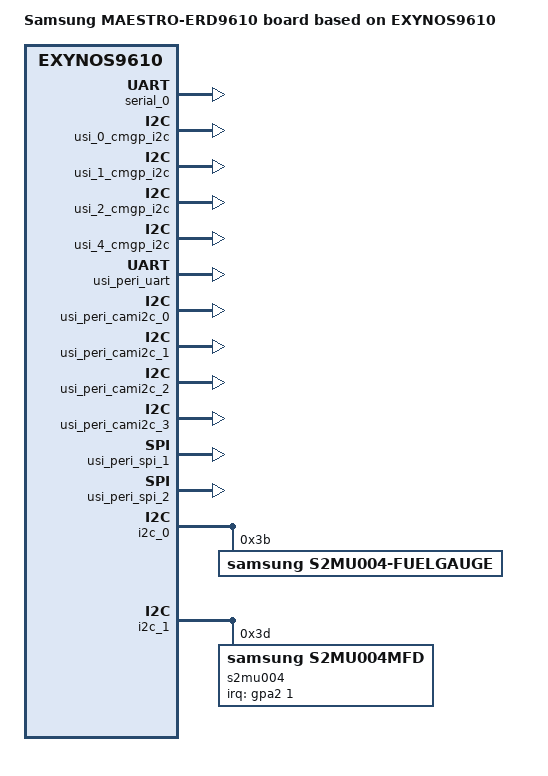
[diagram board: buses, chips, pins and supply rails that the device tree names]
/*
 * SAMSUNG EXYNOS9610 board device tree source
 *
 * Copyright (c) 2017 Samsung Electronics Co., Ltd.
 *		http://www.samsung.com
 *
 * This program is free software; you can redistribute it and/or modify
 * it under the terms of the GNU General Public License version 2 as
 * published by the Free Software Foundation.
 */

/dts-v1/;
#include "exynos9610.dtsi"
#include "exynos9610_battery_data.dtsi"

/ {
	model = "Samsung MAESTRO-ERD9610 board based on EXYNOS9610";
	compatible = "samsung,exynos9610", "samsung,ERD9610";

	memory@80000000 {
		device_type = "memory";
		reg = <0x0 0x80000000 0x80000000>;
	};

	memory@880000000 {
		device_type = "memory";
		reg = <0x00000008 0x80000000 0x80000000>;
	};

	ect {
		parameter_address = <0x90000000>;
		parameter_size = <0x19000>;
	};

	chosen {
		bootargs = "earlycon=exynos4210,0x13820000 console=ttySAC0,115200n8 root=/dev/ram0 rw ramdisk=8192 initrd=0x84000000,8M init=/linuxrc clk_ignore_unused ess_setup=0x86000000";
		linux,initrd-start = <0x84000000>;
		linux,initrd-end = <0x841FFFFF>;
	};

	fixed-rate-clocks {
		oscclk {
			compatible = "samsung,exynos9610-oscclk";
			clock-frequency = <26000000>;
		};
	};

	firmware {
		android {
			compatible = "android,firmware";
			fstab {
				compatible = "android,fstab";
				system {
					compatible = "android,system";
					dev = "/dev/block/platform/13520000.ufs/by-name/system";
					type = "ext4";
					mnt_flags = "ro";
					fsmgr_flags = "wait";
				};
				vendor {
					compatible = "android,vendor";
					dev = "/dev/block/platform/13520000.ufs/by-name/vendor";
					type = "ext4";
					mnt_flags = "ro";
					fsmgr_flags = "wait";
				};
			};
		};
	};

	serial_0: uart@13820000 {
		status = "okay";
	};

	/* USI_0_SHUB */
	usi_0_shub: usi@11013000 {
		usi_v2_mode = "spi";
		status = "okay";
	};

	/* USI_SHUB_0_I2C */
	usi_0_shub_i2c: usi@11013004 {
		/*	usi_v2_mode = "i2c" or "spi" or "uart"	*/
		status = "disabled";
	};

	/* USI_0_CMGP */
	usi_0_cmgp: usi@11C12000 {
		/*	usi_v2_mode = "i2c" or "spi" or "uart"	*/
		status = "disabled";
	};

	/* USI_0_CMGP_I2C */
	usi_0_cmgp_i2c: usi@11C12004 {
		usi_v2_mode = "i2c";
		status = "okay";
	};

	/* USI_1_CMGP */
	usi_1_cmgp: usi@11C12010 {
		usi_v2_mode = "i2c";
		status = "okay";
	};

	/* USI_1_CMGP_I2C */
	usi_1_cmgp_i2c: usi@11C12014 {
		usi_v2_mode = "i2c";
		status = "okay";
	};

	/* USI_2_CMGP */
	usi_2_cmgp: usi@11C12020 {
		/*	usi_v2_mode = "i2c" or "spi" or "uart"	*/
		status = "disabled";
	};

	/* USI_2_CMGP_I2C */
	usi_2_cmgp_i2c: usi@11C12024 {
		usi_v2_mode = "i2c";
		status = "okay";
	};

	/* USI_3_CMGP */
	usi_3_cmgp: usi@11C12030 {
		usi_v2_mode = "spi";
		status = "okay";
	};

	/* USI_3_CMGP_I2C */
	usi_3_cmgp_i2c: usi@11C12034 {
		/*	usi_v2_mode = "i2c" or "spi" or "uart"	*/
		status = "disabled";
	};

	/* USI_4_CMGP */
	usi_4_cmgp: usi@11C12040 {
		usi_v2_mode = "i2c";
		status = "okay";
	};

	/* USI_4_CMGP_I2C */
	usi_4_cmgp_i2c: usi@11C12044 {
		usi_v2_mode = "i2c";
		status = "okay";
	};

	/* USI_PERI_UART */
	usi_peri_uart: usi@10011010 {
		usi_v2_mode = "uart";
		status = "okay";
	};

	/* USI_PERI_CAMI2C_0 */
	usi_peri_cami2c_0: usi@10011020 {
		usi_v2_mode = "i2c";
		status = "okay";
	};

	/* USI_PERI_CAMI2C_1 */
	usi_peri_cami2c_1: usi@10011024 {
		usi_v2_mode = "i2c";
		status = "okay";
	};

	/* USI_PERI_CAMI2C_2 */
	usi_peri_cami2c_2: usi@10011028 {
		usi_v2_mode = "i2c";
		status = "okay";
	};

	/* USI_PERI_CAMI2C_3 */
	usi_peri_cami2c_3: usi@1001102C {
		usi_v2_mode = "i2c";
		status = "okay";
	};

	/* USI_PERI_SPI_0 */
	usi_peri_spi_0: usi@10011030 {
		/*	usi_v2_mode = "i2c" or "spi" or "uart"	*/
		status = "disabled";
	};

	/* USI_PERI_SPI_1 */
	usi_peri_spi_1: usi@10011034 {
		usi_v2_mode = "spi";
		status = "okay";
	};

	/* USI_PERI_USI_0 */
	usi_peri_usi_0: usi@1001103C {
		/*	usi_v2_mode = "i2c" or "spi" or "uart"	*/
		status = "disabled";
	};

	/* USI_PERI_USI_0_I2C */
	usi_peri_usi_0_i2c: usi@10011040 {
		/*	usi_v2_mode = "i2c" or "spi" or "uart"	*/
		status = "disabled";
	};

	/* USI_PERI_SPI_2 */
	usi_peri_spi_2: usi@10011038 {
		usi_v2_mode = "spi";
		status = "okay";
	};

	pinctrl@11850000 {
		pmic_irq: pmic-irq {
			samsung,pins = "gpa2-0";
			samsung,pin-pud = <3>;
			samsugn,pin-drv = <3>;
		};
	};

	pinctrl@139B0000 {
		/* Warm reset informatino from AP */
		pm_wrsti: pm-wrsti {
			samsung,pins = "gpg1-2";
			samsung,pin-con-pdn = <3>;
		};
	};

	speedy@11a10000 {
		status = "okay";

		s2mpu09mfd@00 {
			compatible = "samsung,s2mpu09mfd";
			acpm-ipc-channel = <2>;
			i2c-speedy-address;
			s2mpu09,wakeup = "enabled";
			s2mpu09,irq-gpio = <&gpa2 0 0>;
			reg = <0x00>;
			interrupts = <2 0 0>;
			interrupt-parent = <&gpa2>;
			pinctrl-names = "default";
			pinctrl-0 = <&pmic_irq &pm_wrsti>;
			/* RTC: wtsr/smpl */
			wtsr_en = "enabled"; /* enable */
			smpl_en = "enabled"; /* enable */
			wtsr_timer_val = <3>;	/* 1000ms */
			smpl_timer_val = <4>;	/* 500ms */
			check_jigon = <0>; /* do not check jigon */
			/* RTC: If it's first boot, reset rtc to 1/1/2017 12:00:00(Sun) */
			init_time,sec = <0>;
			init_time,min = <0>;
			init_time,hour = <12>;
			init_time,mday = <1>;
			init_time,mon = <0>;
			init_time,year = <117>;
			init_time,wday = <0>;

			regulators {
				b1_reg: BUCK1 {
					regulator-name = "vdd_mif";
					regulator-min-microvolt = <500000>;
					regulator-max-microvolt = <1100000>;
					regulator-always-on;
					regulator-ramp-delay = <12000>;
					regulator-initial-mode = <2>;
				};

				b2_reg: BUCK2 {
					regulator-name = "vdd_cpucl1";
					regulator-min-microvolt = <500000>;
					regulator-max-microvolt = <1300000>;
					regulator-always-on;
					regulator-ramp-delay = <12000>;
					regulator-initial-mode = <1>;
				};

				b3_reg: BUCK3 {
					regulator-name = "vdd_cpucl0";
					regulator-min-microvolt = <500000>;
					regulator-max-microvolt = <1300000>;
					regulator-always-on;
					regulator-ramp-delay = <12000>;
					regulator-initial-mode = <1>;
				};

				b4_reg: BUCK4{
					regulator-name = "vdd_int";
					regulator-min-microvolt = <500000>;
					regulator-max-microvolt = <1100000>;
					regulator-always-on;
					regulator-ramp-delay = <12000>;
					regulator-initial-mode = <2>;
				};

				b5_reg: BUCK5 {
					regulator-name = "vdd_g3d";
					regulator-min-microvolt = <500000>;
					regulator-max-microvolt = <1200000>;
					regulator-always-on;
					regulator-ramp-delay = <12000>;
					regulator-initial-mode = <2>;
				};

				b6_reg: BUCK6 {
					regulator-name = "vdd_cam_vipx";
					regulator-min-microvolt = <500000>;
					regulator-max-microvolt = <1300000>;
					regulator-always-on;
					regulator-ramp-delay = <12000>;
					regulator-initial-mode = <2>;
				};

				b7_reg: BUCK7 {
					regulator-name = "vdd2_mem";
					regulator-min-microvolt = <500000>;
					regulator-max-microvolt = <1300000>;
					regulator-always-on;
					regulator-ramp-delay = <12000>;
					regulator-initial-mode = <3>;
				};

				b8_reg: BUCK8 {
					regulator-name = "vdd_lldo";
					regulator-min-microvolt = <1200000>;
					regulator-max-microvolt = <1500000>;
					regulator-always-on;
					regulator-ramp-delay = <12000>;
					regulator-initial-mode = <3>;
				};

				b9_reg: BUCK9 {
					regulator-name = "vdd_mldo";
					regulator-min-microvolt = <1800000>;
					regulator-max-microvolt = <2100000>;
					regulator-always-on;
					regulator-ramp-delay = <12000>;
					regulator-initial-mode = <3>;
				};

				l1_reg: LDO1 {
					regulator-name = "vdd_ldo1";
					regulator-min-microvolt = <700000>;
					regulator-max-microvolt = <1300000>;
					regulator-always-on;
					regulator-ramp-delay = <12000>;
					regulator-initial-mode = <3>;
				};

				l2_reg: LDO2 {
					regulator-name = "vqmmc";
					regulator-min-microvolt = <1800000>;
					regulator-max-microvolt = <3375000>;
					regulator-ramp-delay = <12000>;
				};

				l3_reg: LDO3 {
					regulator-name = "vdd_ldo3";
					regulator-min-microvolt = <800000>;
					regulator-max-microvolt = <1950000>;
					regulator-always-on;
					regulator-ramp-delay = <12000>;
					regulator-initial-mode = <3>;
				};

				l4_reg: LDO4 {
					regulator-name = "vdd_ldo4";
					regulator-min-microvolt = <500000>;
					regulator-max-microvolt = <1100000>;
					regulator-always-on;
					regulator-ramp-delay = <12000>;
					regulator-initial-mode = <1>;
				};

				l5_reg: LDO5 {
					regulator-name = "vdd_ldo5";
					regulator-min-microvolt = <800000>;
					regulator-max-microvolt = <1300000>;
					regulator-always-on;
					regulator-ramp-delay = <12000>;
					regulator-initial-mode = <1>;
				};

				l6_reg: LDO6 {
					regulator-name = "vdd_ldo6";
					regulator-min-microvolt = <800000>;
					regulator-max-microvolt = <1300000>;
					regulator-always-on;
					regulator-ramp-delay = <12000>;
					regulator-initial-mode = <1>;
				};

				l7_reg: LDO7 {
					regulator-name = "vdd_ldo7";
					regulator-min-microvolt = <800000>;
					regulator-max-microvolt = <1950000>;
					regulator-always-on;
					regulator-ramp-delay = <12000>;
					regulator-initial-mode = <1>;
				};

				l8_reg: LDO8 {
					regulator-name = "vdd_ldo8";
					regulator-min-microvolt = <500000>;
					regulator-max-microvolt = <1300000>;
					regulator-always-on;
					regulator-ramp-delay = <12000>;
					regulator-initial-mode = <1>;
				};

				l9_reg: LDO9 {
					regulator-name = "vdd_ldo9";
					regulator-min-microvolt = <500000>;
					regulator-max-microvolt = <1300000>;
					regulator-always-on;
					regulator-ramp-delay = <12000>;
					regulator-initial-mode = <1>;
				};

				l10_reg: LDO10 {
					regulator-name = "vdd_ldo10";
					regulator-min-microvolt = <500000>;
					regulator-max-microvolt = <1300000>;
					regulator-always-on;
					regulator-ramp-delay = <12000>;
					regulator-initial-mode = <1>;
				};

				l11_reg: LDO11 {
					regulator-name = "vdd_ldo11";
					regulator-min-microvolt = <500000>;
					regulator-max-microvolt = <1300000>;
					regulator-always-on;
					regulator-ramp-delay = <12000>;
					regulator-initial-mode = <1>;
				};

				l12_reg: LDO12 {
					regulator-name = "vdd_ldo12";
					regulator-min-microvolt = <800000>;
					regulator-max-microvolt = <1300000>;
					regulator-always-on;
					regulator-ramp-delay = <12000>;
					regulator-initial-mode = <1>;
				};

				l13_reg: LDO13 {
					regulator-name = "vdd_ldo13";
					regulator-min-microvolt = <800000>;
					regulator-max-microvolt = <1950000>;
					regulator-always-on;
					regulator-ramp-delay = <12000>;
					regulator-initial-mode = <1>;
				};

				l14_reg: LDO14 {
					regulator-name = "vdd_ldo14";
					regulator-min-microvolt = <1800000>;
					regulator-max-microvolt = <3375000>;
					regulator-always-on;
					regulator-ramp-delay = <12000>;
					regulator-initial-mode = <1>;
				};

				l33_reg: LDO33 {
					regulator-name = "vdd_ldo33";
					regulator-min-microvolt = <800000>;
					regulator-max-microvolt = <1950000>;
					regulator-ramp-delay = <12000>;
				};

				l34_reg: LDO34 {
					regulator-name = "vdd_ldo34";
					regulator-min-microvolt = <1800000>;
					regulator-max-microvolt = <3375000>;
					regulator-ramp-delay = <12000>;
				};

				l35_reg: LDO35 {
					regulator-name = "vmmc";
					regulator-min-microvolt = <1800000>;
					regulator-max-microvolt = <3375000>;
					regulator-ramp-delay = <12000>;
				};

				l36_reg: LDO36 {
					regulator-name = "vdd_ldo36";
					regulator-min-microvolt = <500000>;
					regulator-max-microvolt = <1300000>;
					regulator-always-on;
					regulator-ramp-delay = <12000>;
					regulator-initial-mode = <1>;
				};

				l37_reg: LDO37 {
					regulator-name = "vdd_ldo37";
					regulator-min-microvolt = <1800000>;
					regulator-max-microvolt = <3375000>;
					regulator-ramp-delay = <12000>;
				};

				l38_reg: LDO38 {
					regulator-name = "vdd_ldo38";
					regulator-min-microvolt = <1800000>;
					regulator-max-microvolt = <3375000>;
					regulator-ramp-delay = <12000>;
					regulator-always-on;
				};

				l39_reg: LDO39 {
					regulator-name = "vdd_ldo39";
					regulator-min-microvolt = <800000>;
					regulator-max-microvolt = <1950000>;
					regulator-ramp-delay = <12000>;
					regulator-always-on;
				};

				l40_reg: LDO40 {
					regulator-name = "vdd_ldo40";
					regulator-min-microvolt = <1800000>;
					regulator-max-microvolt = <3375000>;
					regulator-ramp-delay = <12000>;
					regulator-initial-mode = <3>;
					regulator-always-on;
				};

				l41_reg: LDO41 {
					regulator-name = "vdd_ldo41";
					regulator-min-microvolt = <1800000>;
					regulator-max-microvolt = <3375000>;
					regulator-ramp-delay = <12000>;
				};

				l42_reg: LDO42 {
					regulator-name = "vdd_ldo42";
					regulator-min-microvolt = <800000>;
					regulator-max-microvolt = <1950000>;
					regulator-ramp-delay = <12000>;
				};

				l43_reg: LDO43 {
					regulator-name = "vdd_ldo43";
					regulator-min-microvolt = <500000>;
					regulator-max-microvolt = <1300000>;
					regulator-always-on;
					regulator-ramp-delay = <12000>;
					regulator-initial-mode = <1>;
				};

				l44_reg: LDO44 {
					regulator-name = "vdd_ldo44";
					regulator-min-microvolt = <800000>;
					regulator-max-microvolt = <1300000>;
					regulator-ramp-delay = <12000>;
				};
			};
		};
	};
};

&pinctrl_0 {
	if_pmic_irq: if-pmic-irq {
		samsung,pins = "gpa2-1";
		samsung,pin-function = <0>;
		samsung,pin-pud = <0>;
		samsung,pin-drv = <0>;
	};

	fuel_irq: fuel-irq {
		samsung,pins = "gpa2-3";
		samsung,pin-function = <0>;
		samsung,pin-pud = <0>;
		samsung,pin-drv = <0>;
	};
};

&i2c_0 {
	#address-cells = <1>;
	#size-cells = <0>;
	status = "okay";
	s2mu004-fuelgauge@3B {
		compatible = "samsung,s2mu004-fuelgauge";
		reg = <0x3B>;
		pinctrl-names = "default";
		pinctrl-0 = <&fuel_irq>;
		fuelgauge,fuel_int = <&gpa2 3 0>;
		fuelgauge,fuel_alert_soc = <1>;
		fuelgauge,capacity_max = <1000>;
		fuelgauge,capacity_max_margin = <70>;
		fuelgauge,capacity_min = <0>;
		fuelgauge,capacity_calculation_type = <28>;
		fuelgauge,type_str = "SDI";
		fuelgauge,model_type = <1>;
	};
};

&i2c_1 {
	#address-cells = <1>;
	#size-cells = <0>;
	status = "okay";
	s2mu004@3d {
		compatible = "samsung,s2mu004mfd";
		reg = <0x3d>;
		pinctrl-names = "default";
		pinctrl-0 = <&if_pmic_irq>;
		s2mu004,irq-gpio = <&gpa2 1 0>;
		s2mu004,wakeup;
	};

	s2mu004-charger {
		status = "okay";
		battery,charger_name = "s2mu004-charger";
		battery,chg_gpio_en = <0>;
		battery,chg_polarity_en = <0>;
		battery,chg_gpio_status = <0>;
		battery,chg_polarity_status = <0>;
		battery,chg_float_voltage = <4350>;
		battery,chg_recharge_vcell = <4250>;
		battery,chg_full_vcell = <4300>;
		battery,full_check_type = <2>;
		battery,full_check_type_2nd = <2>;
		battery,input_current_limit = <
			500 450 500 1200 500 1200 1200 1000 1000 1000
			1000 500 500 1200 1000 500 450>;
		battery,fast_charging_current =	<
			500 450 500 1200 500 1200 1200 1000 1000 1000
			1000 500 500 1200 1000 500 450>;
		battery,full_check_current_1st = <
			300 0 300 300 300 300 300 300 300 300
			300 300 300 300 300 300 0>;
		battery,full_check_current_2nd = <
			100 0 100 100 100 100 100 100 100 100
			100 100 100 100 100 100 0>;
	};
};
